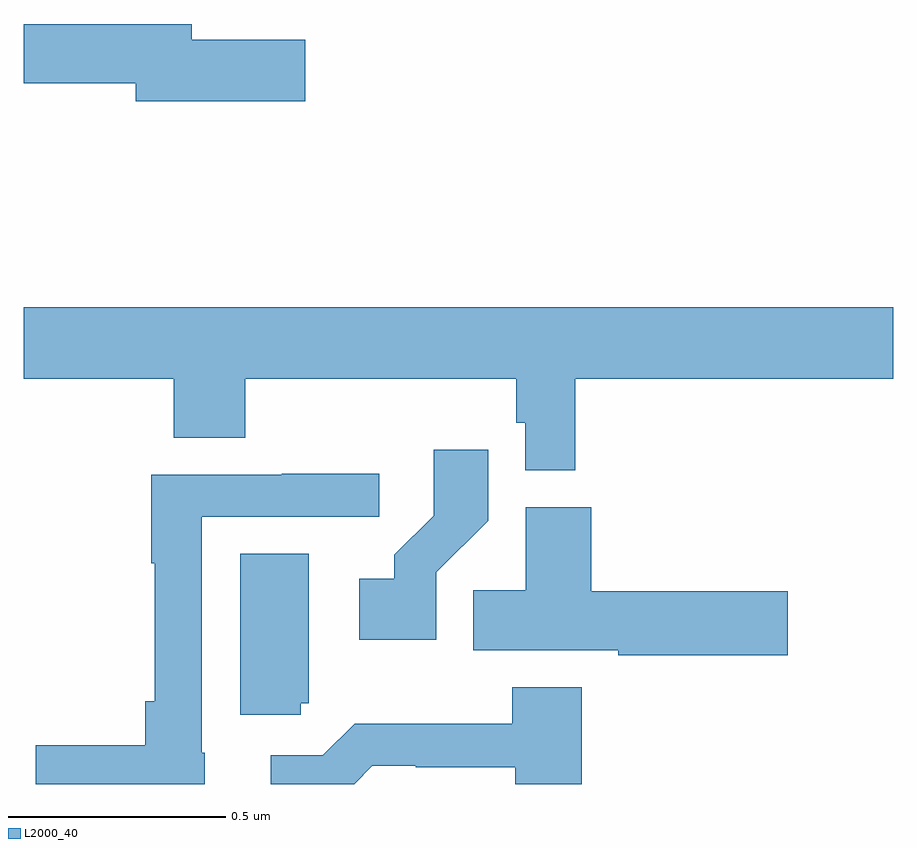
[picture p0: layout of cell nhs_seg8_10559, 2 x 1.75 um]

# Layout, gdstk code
import gdstk
lib = gdstk.Library(unit=1e-6, precision=1e-09)
def P(c, l, *ps):  # polygons
    for p in ps: c.add(gdstk.Polygon(p, *l))
L2000_40 = (2000, 40)

nhs_seg8_10559 = lib.new_cell('nhs_seg8_10559')
P(nhs_seg8_10559, L2000_40, [(251.647,1118.612),(251.386,1118.612),(251.386,1118.648),(251,1118.648),(251,1118.512),(251.258,1118.512),(251.258,1118.47),(251.647,1118.47)],
  [(252.269,1117.832),(253,1117.832),(253,1117.996),(251,1117.996),(251,1117.832),(251.345,1117.832),(251.345,1117.696),(251.51,1117.696),(251.51,1117.832),(252.133,1117.832),(252.133,1117.731),(252.153,1117.731),(252.153,1117.622),(252.269,1117.622)],
  [(251.949,1117.387),(252.068,1117.506),(252.068,1117.669),(251.943,1117.669),(251.943,1117.517),(251.852,1117.427),(251.852,1117.372),(251.772,1117.372),(251.772,1117.232),(251.949,1117.232)],
  [(251.416,1116.972),(251.409,1116.972),(251.409,1117.515),(251.818,1117.515),(251.818,1117.614),(251.593,1117.614),(251.593,1117.611),(251.293,1117.611),(251.293,1117.408),(251.301,1117.408),(251.301,1117.09),(251.28,1117.09),(251.28,1116.989),(251.028,1116.989),(251.028,1116.9),(251.416,1116.9)],
  [(252.757,1117.343),(252.305,1117.343),(252.305,1117.537),(252.155,1117.537),(252.155,1117.346),(252.034,1117.346),(252.034,1117.208),(252.367,1117.208),(252.367,1117.196),(252.757,1117.196)],
  [(251.637,1117.086),(251.656,1117.086),(251.656,1117.43),(251.498,1117.43),(251.498,1117.059),(251.637,1117.059)],
  [(251.802,1116.942),(251.902,1116.942),(251.902,1116.939),(252.131,1116.939),(252.131,1116.9),(252.284,1116.9),(252.284,1117.123),(252.124,1117.123),(252.124,1117.039),(251.761,1117.039),(251.688,1116.966),(251.568,1116.966),(251.568,1116.9),(251.76,1116.9)])

lib.write_gds('nhs_seg8_10559.gds')
